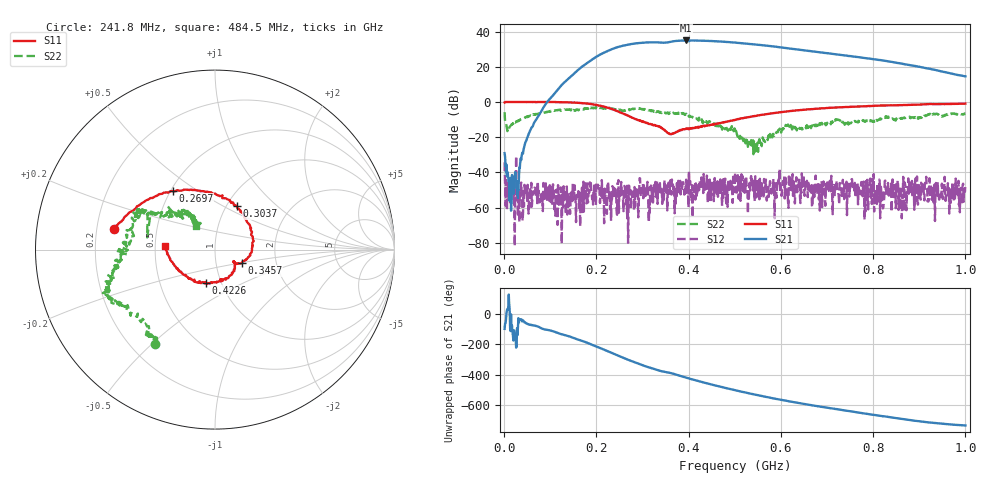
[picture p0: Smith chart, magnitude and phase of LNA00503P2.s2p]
! Created with skrf 1.9.0 (http://scikit-rf.org).
# Hz S RI R 50.0
!freq ReS11 ImS11 ReS21 ImS21 ReS12 ImS12 ReS22 ImS22
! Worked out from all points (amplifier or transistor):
!   1001 points, 1 MHz to 1 GHz, reference 50 ohm
!   highest |S21| = 35.0 dB at 394.6 MHz (marker M1)
!   |S21| within 3 dB of that: 257.4 MHz to 569.4 MHz (312.1 MHz wide, 75.5 % of centre)
!   unconditionally stable (mu >= 1): 26.55 MHz to 57.32 MHz; 225.1 MHz to 294.1 MHz; 294.9 MHz to end of sweep (the widest 3 of 34)
!   at 166.8 MHz: K = 1.83, MAG = 30.6 dB, |S12| = -52.1 dB
!   at 500.5 MHz: K = 1.18, MAG = 34.4 dB, |S12| = -40.1 dB
!   at 1 GHz: K = 2.60, MAG = 23.6 dB, |S12| = -46.6 dB
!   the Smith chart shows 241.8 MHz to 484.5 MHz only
!   S11 on the Smith chart (normalised r, x): 241.8 MHz: 0.27, +0.09; 269.7 MHz: 0.51, +0.40; 303.7 MHz: 1.12, +0.58; 345.7 MHz: 1.33, -0.20; 422.6 MHz: 0.85, -0.32; 484.5 MHz: 0.56, +0.03
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1000000  0.9736 0.004  -0.00563 -0.0347  -0.0138 0.0133  0.3964 0.3316
1.08892e8  0.5311 -0.8416  -0.8036 -1.526  -0.000675 0.00058  0.4166 -0.3741
1.67833e8  -0.2136 -0.9079  -9.875 -0.591  -0.000884 0.00173  0.0315 -0.6279
2.08792e8  -0.6546 -0.4248  -15.81 16.16  0.00127 -0.00195  -0.2156 -0.6405
2.41759e8  -0.564 0.1123  -1.126 34.82  -0.00205 -0.000624  -0.3349 -0.5244
2.69731e8  -0.235 0.3263  23.28 36.19  -0.00157 -0.000378  -0.4967 -0.3197
3.03697e8  0.1228 0.2411  46.16 15.74  -0.00235 0.00262  -0.5868 -0.1769
3.34666e8  0.2038 -0.0147  48.5 -9.826  -0.00044 0.00329  -0.5164 -0.0268
3.45655e8  0.1493 -0.0732  46 -16.03  -0.000131 0.0016  -0.5135 0.0384
3.7063e8  0.1099 -0.076  43.51 -32.3  -0.00297 0.00163  -0.4309 0.168
3.94606e8  0.0715 -0.1598  29.28 -48.11  -0.000136 0.0062  -0.4058 0.225
4.22578e8  -0.0517 -0.1834  7.318 -55.28  -0.00144 -0.00275  -0.2637 0.241
4.5055e8  -0.1871 -0.1287  -13.41 -52.76  0.00259 0.00206  -0.1486 0.2009
4.84516e8  -0.2777 0.0213  -32.48 -39.4  0.000929 -0.000468  -0.1064 0.1311
5.005e8  -0.2856 0.1164  -38.24 -30.86  0.00626 -0.00771  -0.1037 0.0833
5.4046e8  -0.2306 0.3187  -42.68 -9.332  0.00193 -0.00227  -0.0317 0.00854
5.88412e8  -0.0388 0.4893  -35.64 11.21  0.00405 -0.00274  -0.0997 -0.072
6.67333e8  0.3387 0.5279  -13.81 23.78  0.000479 -0.00103  -0.2066 -0.0399
7.53247e8  0.6397 0.3518  3.608 19.59  -0.0061 -0.00164  -0.2616 -0.0169
8.34166e8  0.7922 0.1117  10.39 9.749  0.00197 -0.000918  -0.365 0.0063
9.09091e8  0.842 -0.1427  9.31 1.933  -0.00368 -0.00142  -0.3537 0.1407
1e9  0.7978 -0.4188  5.259 -1.113  0.000164 0.00469  -0.3271 0.3219
